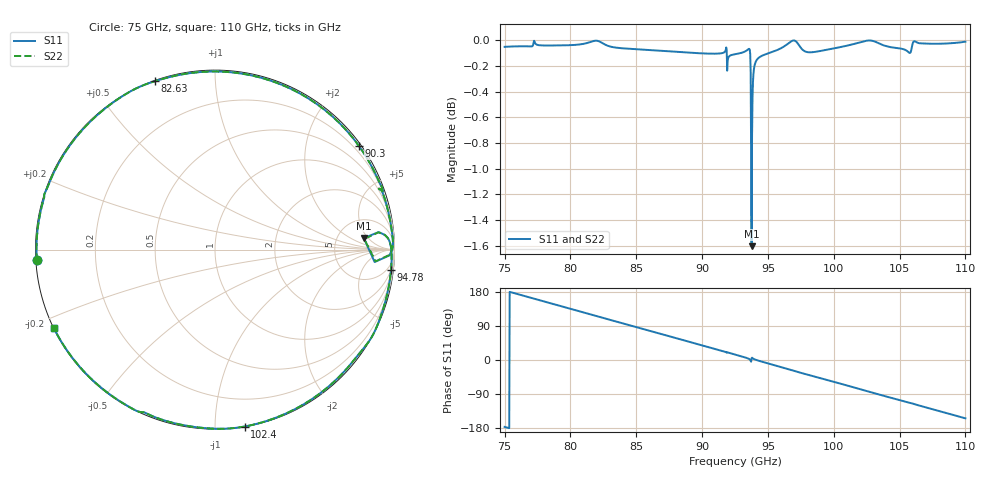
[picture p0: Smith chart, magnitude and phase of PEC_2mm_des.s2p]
! TOUCHSTONE file generated by CST MICROWAVE STUDIO
! Date and time: Wed Feb  7 15:51:48 2024
! Project name: metal_desal.cst
! Header version: 2018
! Port assignment regex: !\s*Touchstone port\s*([0-9]+)\s*=\s*(CST MWS port|CST DS port)\s*([0-9]+|Zmin|Zmax)\s*\(\"(.*)\"\)(\s*mode\s*([0-9]+))?.*
! Touchstone port assignment:
! Touchstone port 1 = CST MWS port 1 ("")
! Touchstone port 2 = CST MWS port 2 ("")
# GHz S MA R 376.7
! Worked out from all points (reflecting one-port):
!   1001 points, 75 GHz to 110 GHz, reference 376.7 ohm
!   lowest |S11| = -1.6 dB at 93.76 GHz (marker M1), VSWR 10.87, Z = 3.49e+03 + j1.45e+03 ohm
!   phase of S11 starts at -177 deg and turns -337 deg over the sweep
!   S11 on the Smith chart (normalised r, x): 75 GHz: 0.00, -0.03; 82.63 GHz: 0.00, +0.71; 90.3 GHz: 0.06, +3.10; 94.78 GHz: 2, -17; 102.4 GHz: 0.00, -1.18; 110 GHz: 0.00, -0.23
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75  0.9943 -176.5  0 0.0  0 0.0  0.9943 -176.5
76.4  0.9948 170.0  3.578e-65 -179.9  3.578e-65 -179.9  0.9948 170.0
77.8  0.9956 156.5  3.282e-65 -179.9  3.282e-65 -179.9  0.9955 156.5
80.845  0.9967 127.2  2.691e-65 -179.7  2.691e-65 -179.7  0.9967 127.2
82.63  0.9963 109.6  2.296e-65 -179.7  2.296e-65 -179.7  0.9962 109.6
84.695  0.9924 89.8  1.8e-65 -179.7  1.8e-65 -179.7  0.9923 89.8
86.69  0.9909 70.6  1.302e-65 -179.7  1.302e-65 -179.7  0.9909 70.6
88.405  0.9896 54.0  9.025e-66 -179.8  9.025e-66 -179.8  0.9896 54.0
90.295  0.9883 35.8  6.022e-66 -179.9  6.022e-66 -179.9  0.9883 35.8
92.5  0.9877 14.5  0 0.0  0 0.0  0.9876 14.5
93.48  0.9919 4.2  2.008e-66 0.0  2.008e-66 0.0  0.9918 4.2
93.76  0.8314 4.4  0 0.0  0 0.0  0.8336 4.1
93.935  0.9742 2.6  4.016e-66 0.0  4.016e-66 0.0  0.9742 2.6
94.775  0.9874 -6.7  6.024e-66 -0.0  6.024e-66 -0.0  0.9874 -6.7
96.63  0.9981 -24.9  1.004e-65 -0.1  1.004e-65 -0.1  0.998 -24.8
98.345  0.9895 -41.7  1.304e-65 -0.1  1.304e-65 -0.1  0.9895 -41.7
100.445  0.9939 -61.8  1.803e-65 -0.2  1.803e-65 -0.2  0.9939 -61.8
102.37  0.9995 -80.5  2.101e-65 -0.2  2.101e-65 -0.2  0.9995 -80.5
104.19  0.9942 -98.3  2.499e-65 -0.2  2.499e-65 -0.2  0.9944 -98.3
106.71  0.9973 -122.3  3.095e-65 -0.2  3.095e-65 -0.2  0.9977 -122.3
108.46  0.9972 -139.1  3.392e-65 -0.1  3.392e-65 -0.1  0.9973 -139.1
110  0.9989 -153.9  0 0.0  0 0.0  0.9989 -153.9
